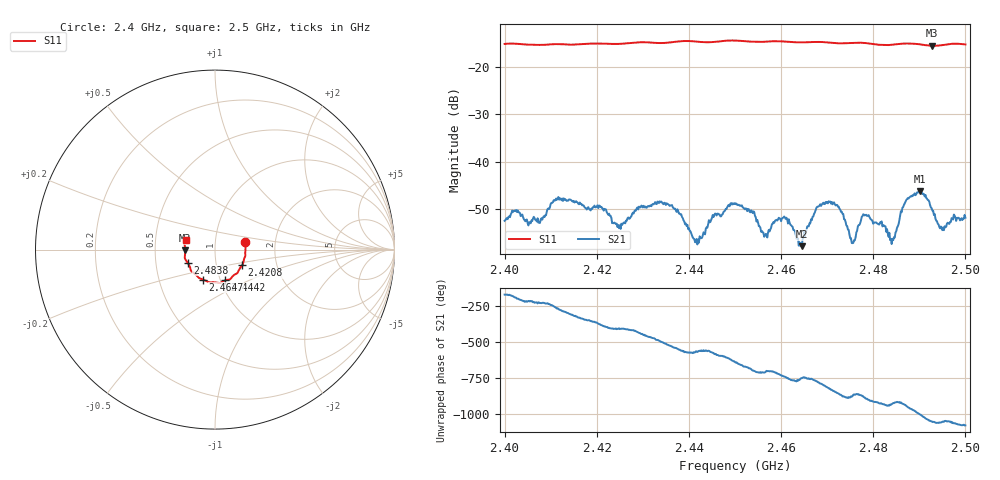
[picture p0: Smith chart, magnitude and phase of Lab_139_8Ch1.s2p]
# Hz S RI R 50
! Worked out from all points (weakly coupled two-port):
!   601 points, 2.4 GHz to 2.5 GHz, reference 50 ohm
!   highest |S21| = -46.22 dB at 2.4902 GHz (marker M1); lowest = -57.8 dB at 2.4645 GHz (marker M2)
!   lowest |S11| = -15.6 dB at 2.4928 GHz (marker M3), VSWR 1.40, Z = 35.8 - j0.358 ohm
!   |S11| at or under -10 dB: start of sweep to end of sweep
!   S12 and S22 are empty: the file has one direction only
!   S11 on the Smith chart (normalised r, x): 2.4 GHz: 1.40, +0.12; 2.4208 GHz: 1.33, -0.24; 2.4442 GHz: 1.05, -0.37; 2.4647 GHz: 0.83, -0.29; 2.4838 GHz: 0.73, -0.11; 2.5 GHz: 0.72, +0.08
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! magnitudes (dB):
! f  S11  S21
! 2.4 GHz  -15.2  -52.5
! 2.4167 GHz  -15.3  -48.9
! 2.4208 GHz  -15.2  -49.6
! 2.425 GHz  -15.2  -53.4
! 2.4333 GHz  -15.0  -48.5
! 2.4417 GHz  -14.7  -56.3
! 2.4442 GHz  -14.9  -53.2
! 2.45 GHz  -14.5  -48.9
! 2.4565 GHz  -14.8  -55.6
! 2.4607 GHz  -14.7  -51.6
! 2.4645 GHz  -14.9  -57.8
! 2.4647 GHz  -14.9  -56.4
! 2.4667 GHz  -14.8  -52.3
! 2.471 GHz  -15.0  -48.5
! 2.4755 GHz  -15.0  -57.2
! 2.4782 GHz  -15.0  -51.3
! 2.4833 GHz  -15.5  -55.8
! 2.4838 GHz  -15.4  -56.2
! 2.4902 GHz  -15.3  -46.2
! 2.4928 GHz  -15.6  -50.3
! 2.4948 GHz  -15.5  -53.9
! 2.5 GHz  -15.3  -51.8
